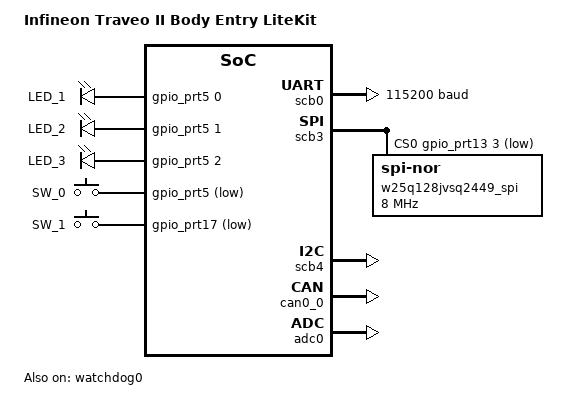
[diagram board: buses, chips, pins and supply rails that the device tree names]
/dts-v1/;

#include <arm/infineon/cat1a/cyt2bl/system_clocks.dtsi>
#include <zephyr/dt-bindings/input/input-event-codes.h>
#include <infineon/cat1a/cyt2bl/cyt2bl.100-lqfp.dtsi>



/ {
    model = "Infineon Traveo II Body Entry LiteKit" ;
    compatible = "infineon,tvii4m" ;

        chosen {
                zephyr,sram = &sram0;
                zephyr,flash = &code_flash0;
                zephyr,console = &uart0;
                zephyr,shell-uart = &uart0;
                zephyr,canbus = &can0;
                
        };

    aliases {
            led0 = &user_led0;
            led1 = &user_led1;
            led2 = &user_led2;
            sw0 = &user_bt0;
            sw1 = &user_bt1;
            watchdog0 = &watchdog0;
            dma0 = &dma0;
            i2c0 = &scb4;
    };
    
    leds{
        compatible = "gpio-leds";

        user_led0: led0 {
            label = "LED_1";
            gpios = <&gpio_prt5 0 GPIO_ACTIVE_HIGH>;
        };

        user_led1: led1 {
            label = "LED_2";
            gpios = <&gpio_prt5 1 GPIO_ACTIVE_HIGH>;
        };

        user_led2: led2 {
            label = "LED_3";
            gpios = <&gpio_prt5 2 GPIO_ACTIVE_HIGH>;
        };
       
    };

    gpio_keys {
                compatible = "gpio-keys";

                user_bt0: user_btn0 {
                    label = "SW_0";
                    gpios = <&gpio_prt5 3(GPIO_PULL_UP | GPIO_ACTIVE_LOW)>;
                    zephyr,code = <INPUT_KEY_0>;
                };

                user_bt1: user_btn1 {
                    label = "SW_1";
                    gpios = <&gpio_prt17 0(GPIO_PULL_UP | GPIO_ACTIVE_LOW)>;
                    zephyr,code = <INPUT_KEY_1>;
                };
    };



};

&p0_0_scb0_uart_rx {
	input-enable;
};

&p0_1_scb0_uart_tx {
	drive-push-pull;
};

&p6_1_scb4_i2c_sda{
    drive-open-drain;
    input-enable;
};

&p6_2_scb4_i2c_scl{
    drive-open-drain;
    input-enable;    
};



&watchdog0 {
    status = "okay";
};

&dma0 {
	status = "okay";
};

uart0: &scb0 {
	compatible = "infineon,cat1-uart-pdl";
	status = "okay";
	current-speed = <115200>;
    clocks = <&clk_hf0>;
    ifx,peri-group = <IFX_PERI_GRP_INST_SEL(0, 0)>;
    ifx,peri-clk = <0x001E>;
    ifx,peri-div = <1>; /* 16-bit divider */
    ifx,peri-div-inst = <3>;

	/* UART pins */
	pinctrl-0  = <&p0_1_scb0_uart_tx &p0_0_scb0_uart_rx>;
	pinctrl-names = "default";
};

spi1: &scb3 {
    compatible = "infineon,cat1-spi-pdl";
    status = "okay";

    #address-cells = <1>;
    #size-cells = <0>;

    /* SPI pins */
    pinctrl-0 = <&p13_0_scb3_spi_m_miso &p13_1_scb3_spi_m_mosi &p13_2_scb3_spi_m_clk>;
    pinctrl-names = "default";
    cs-gpios = <&gpio_prt13 3 GPIO_ACTIVE_LOW>;

    ifx,peri-group = <IFX_PERI_GRP_INST_SEL(1, 0)>;
    ifx,peri-clk = <0x0108>;
    ifx,peri-div = <1>; /* 16-bit divider */
    ifx,peri-div-inst = <3>;

	w25q128jvsq2449_spi: spi-nor-flash@0 {
		compatible = "jedec,spi-nor";
		status = "okay";
		reg = <0>;
        spi-max-frequency = <8000000>;
		size = <DT_SIZE_M(128)>; /* 64 Mbits */
		jedec-id = [ef 40 18];
	};
};

i2c0: &scb4 {
    compatible = "infineon,cat1-i2c-pdl";
    status = "okay";

    #address-cells = <1>;
    #size-cells = <0>;

    /* I2C pins */
    pinctrl-0 = <&p6_1_scb4_i2c_sda &p6_2_scb4_i2c_scl>;
    pinctrl-names = "default";

    clocks = <&clk_hf0>;
    ifx,peri-group = <IFX_PERI_GRP_INST_SEL(0, 0)>;
    ifx,peri-clk = <0x0022>;
    ifx,peri-div = <0>; /* 8-bit divider */
    ifx,peri-div-inst = <1>;
};


can0: &can0_0 {
    status = "okay";
    compatible = "infineon,cat1-can";
    clocks = <&clk_hf0>;
    clock-frequency = <40000000>;
    ifx,peri-group = <IFX_PERI_GRP_INST_SEL(1, 0)>;
    ifx,peri-clk = <0x0006>;
    ifx,peri-div = <3>; /* 24-bit divider */
    ifx,peri-div-inst = <0>;

    pinctrl-0 = <&p2_0_can0_0_tx &p2_1_can0_0_rx>;
    pinctrl-names = "default";
};

adc0: &adc0 {
       status = "okay";
	    clocks = <&clk_hf0>;
       clock-frequency = <10670000>;
       ifx,peri-group = <IFX_PERI_GRP_INST_SEL(0, 0)>;
       ifx,peri-clk = <0x001C>;
       ifx,peri-div = <1>; /* 8-bit divider */
       ifx,peri-div-inst = <2>;
	   #io-channel-cells = <1>;
		#address-cells = <1>;
   		#size-cells = <0>;
};

&gpio_prt0 {
	status = "okay";
};

&gpio_prt5 {
	status = "okay";
};

&gpio_prt17 {
	status = "okay";
};

&gpio_prt18 {
	status = "okay";
};

&clk_eco {
status = "okay";
clock-frequency = <16000000>;
};

&clk_hf2
{
    status = "okay";
    
};


